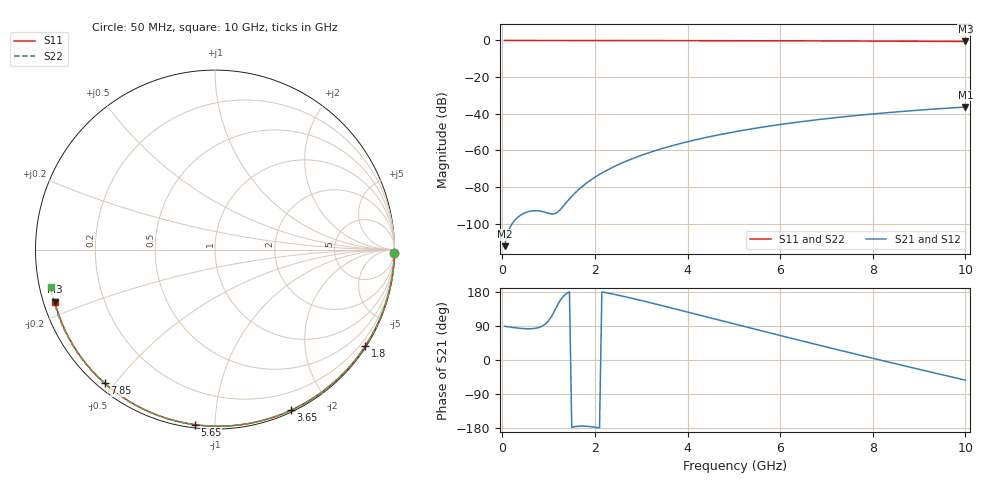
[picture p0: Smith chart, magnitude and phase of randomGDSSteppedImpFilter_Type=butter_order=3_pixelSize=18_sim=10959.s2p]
! freq	dB(S11)	phase(S11)	dB(S12)	phase(S12)
!  dB(S21)	phase(S21)	dB(S22)	phase(S22)
!S-par simulation data
#  GHz  S  DB  R 50
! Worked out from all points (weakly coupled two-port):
!   200 points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, 50 MHz to 10 GHz, reference 50 ohm
!   highest |S21| = -36.38 dB at 10 GHz (marker M1); lowest = -112.3 dB at 50 MHz (marker M2)
!   lowest |S11| = -0.5 dB at 10 GHz (marker M3), VSWR 31.77, Z = 1.61 - j7.9 ohm
!   |S11| at or under -10 dB: nowhere
!   |S22| runs from -0.6 to 0.0 dB; largest |S21 - S12| = 0
!   S11 on the Smith chart (normalised r, x): 50 MHz: open; 1.8 GHz: 0.03, -3.41; 3.65 GHz: 0.02, -1.58; 5.65 GHz: 0.02, -0.89; 7.85 GHz: 0.02, -0.47; 10 GHz: 0.03, -0.16
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0.05  -0.00 -0.9  -112.34 89.1  -112.34 89.1  -0.00 -0.9
0.45  -0.01 -8.3  -94.61 82.9  -94.61 82.9  -0.01 -8.5
0.85  -0.02 -15.6  -93.33 88.7  -93.33 88.7  -0.02 -15.9
1.7  -0.04 -30.9  -80.30 -174.4  -80.30 -174.4  -0.04 -31.5
1.75  -0.04 -31.8  -79.25 -174.4  -79.25 -174.4  -0.04 -32.4
1.8  -0.04 -32.7  -78.26 -174.7  -78.26 -174.7  -0.04 -33.3
2.1  -0.05 -38.0  -73.14 -179.2  -73.14 -179.2  -0.05 -38.8
2.3  -0.05 -41.5  -70.33 176.3  -70.33 176.3  -0.05 -42.3
2.5  -0.06 -45.0  -67.87 171.2  -67.87 171.2  -0.06 -45.9
2.9  -0.07 -51.9  -63.68 159.9  -63.68 159.9  -0.07 -52.9
3.4  -0.08 -60.4  -59.43 145.0  -59.43 145.0  -0.08 -61.6
3.65  -0.09 -64.6  -57.60 137.4  -57.60 137.4  -0.09 -65.8
4.3  -0.11 -75.3  -53.53 117.2  -53.53 117.2  -0.11 -76.7
5.05  -0.13 -87.2  -49.73 93.9  -49.73 93.9  -0.14 -89.0
5.65  -0.16 -96.6  -47.21 75.4  -47.21 75.4  -0.16 -98.5
6.15  -0.19 -104.2  -45.38 60.0  -45.38 60.0  -0.19 -106.4
6.7  -0.22 -112.5  -43.59 43.3  -43.59 43.3  -0.22 -114.9
7.25  -0.26 -120.7  -42.01 26.8  -42.01 26.8  -0.26 -123.4
7.85  -0.31 -129.6  -40.49 9.0  -40.49 9.0  -0.31 -132.6
8.35  -0.35 -137.0  -39.35 -5.7  -39.35 -5.7  -0.36 -140.4
9.2  -0.45 -149.7  -37.68 -30.3  -37.68 -30.3  -0.45 -153.9
10  -0.55 -162.0  -36.38 -53.2  -36.38 -53.2  -0.56 -167.2
